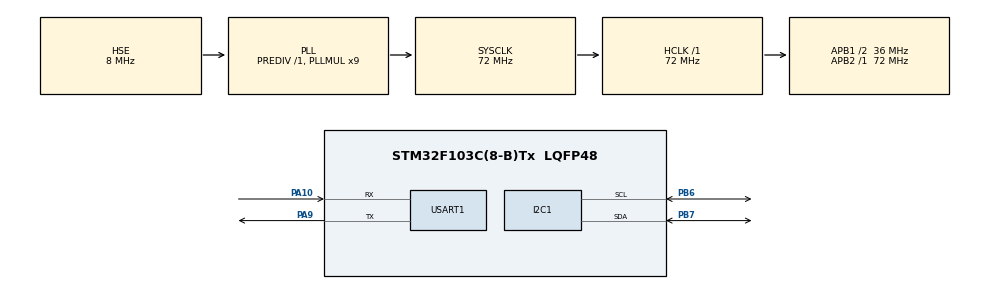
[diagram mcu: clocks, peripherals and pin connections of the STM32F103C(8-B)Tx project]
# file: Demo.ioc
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Dma.Request0=USART1_TX
Dma.USART1_TX.0.Direction=DMA_MEMORY_TO_PERIPH
Dma.USART1_TX.0.Instance=DMA1_Channel4
Dma.USART1_TX.0.MemDataAlignment=DMA_MDATAALIGN_BYTE
Dma.USART1_TX.0.MemInc=DMA_MINC_ENABLE
Dma.USART1_TX.0.Mode=DMA_NORMAL
Dma.USART1_TX.0.PeriphDataAlignment=DMA_PDATAALIGN_BYTE
Dma.USART1_TX.0.PeriphInc=DMA_PINC_DISABLE
Dma.USART1_TX.0.Priority=DMA_PRIORITY_HIGH
I2C1.I2C_Mode=I2C_Fast
Mcu.Family=STM32F1
Mcu.Name=STM32F103C(8-B)Tx
Mcu.Package=LQFP48
NVIC.DMA1_Channel4_IRQn=true\:0\:0\:false\:false\:true\:false\:true\:true
NVIC.PriorityGroup=NVIC_PRIORITYGROUP_4
NVIC.USART1_IRQn=true\:0\:0\:false\:false\:true\:true\:true\:true
PA10.Mode=Asynchronous
PA10.Signal=USART1_RX
PA13.Mode=Serial_Wire
PA13.Signal=SYS_JTMS-SWDIO
PA14.Mode=Serial_Wire
PA14.Signal=SYS_JTCK-SWCLK
PA9.Mode=Asynchronous
PA9.Signal=USART1_TX
PB6.Mode=I2C
PB6.Signal=I2C1_SCL
PB7.Mode=I2C
PB7.Signal=I2C1_SDA
PC14-OSC32_IN.Mode=LSE-External-Oscillator
PC14-OSC32_IN.Signal=RCC_OSC32_IN
PC15-OSC32_OUT.Mode=LSE-External-Oscillator
PC15-OSC32_OUT.Signal=RCC_OSC32_OUT
PD0-OSC_IN.Mode=HSE-External-Oscillator
PD0-OSC_IN.Signal=RCC_OSC_IN
PD1-OSC_OUT.Mode=HSE-External-Oscillator
PD1-OSC_OUT.Signal=RCC_OSC_OUT
ProjectManager.HeapSize=0x200
ProjectManager.StackSize=0x400
ProjectManager.TargetToolchain=MDK-ARM V5.32
RCC.AHBFreq_Value=72000000
RCC.APB1CLKDivider=RCC_HCLK_DIV2
RCC.APB1Freq_Value=36000000
RCC.APB1TimFreq_Value=72000000
RCC.APB2Freq_Value=72000000
RCC.APB2TimFreq_Value=72000000
RCC.HCLKFreq_Value=72000000
RCC.PLLMUL=RCC_PLL_MUL9
RCC.PLLSourceVirtual=RCC_PLLSOURCE_HSE
RCC.SYSCLKFreq_VALUE=72000000
RCC.SYSCLKSource=RCC_SYSCLKSOURCE_PLLCLK
RCC.USBFreq_Value=72000000
USART1.VirtualMode=VM_ASYNC
board=custom

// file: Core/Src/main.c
/* USER CODE BEGIN Header */
/**
  ******************************************************************************
  * @file           : main.c
  * @brief          : Main program body
  ******************************************************************************
  * @attention
  *
  * Copyright (c) 2023 STMicroelectronics.
  * All rights reserved.
  *
  * This software is licensed under terms that can be found in the LICENSE file
  * in the root directory of this software component.
  * If no LICENSE file comes with this software, it is provided AS-IS.
  *
  ******************************************************************************
  */
/* USER CODE END Header */
#include "main.h"
#include "dma.h"
#include "i2c.h"
#include "usart.h"
#include "gpio.h"

/* USER CODE BEGIN Includes */

#include "mpu6050.h"
#include "inv_mpu.h"
#include "inv_mpu_dmp_motion_driver.h"
#include "pca9548.h"
#include <string.h>
/* USER CODE END Includes */

/* USER CODE BEGIN PV */
float pitch, roll, yaw;
uint8_t txBuf[50];
/* USER CODE END PV */

void SystemClock_Config(void);

/* USER CODE BEGIN 0 */
void sentData_Uart(uint8_t port);
/* USER CODE END 0 */

int main(void)
{
  /* USER CODE BEGIN 1 */

	uint8_t i;

  /* USER CODE END 1 */

  /* MCU Configuration--------------------------------------------------------*/

  /* Reset of all peripherals, Initializes the Flash interface and the Systick. */
  HAL_Init();

  /* Configure the system clock */
  SystemClock_Config();

  /* Initialize all configured peripherals */
  MX_GPIO_Init();
  MX_DMA_Init();
  MX_I2C1_Init();
  MX_USART1_UART_Init();
  /* USER CODE BEGIN 2 */
	for(i = 0; i < 2; i++)
	{
		selectPort(i);
		MPU_Init(); //��ʼ��MPU6050
		while(mpu_dmp_init()) //DMP��ʼ��
		{

			printf("MPU%d DMP failed.Err code��%d\r\n", i, mpu_dmp_init());
		}
	}

  /* USER CODE END 2 */

  /* Infinite loop */
  while (1)
  {

    /* USER CODE BEGIN 3 */
	  sentData_Uart(0);
	  sentData_Uart(1);
  }
  /* USER CODE END 3 */
}

void SystemClock_Config(void)
{
  RCC_OscInitTypeDef RCC_OscInitStruct = {0};
  RCC_ClkInitTypeDef RCC_ClkInitStruct = {0};

  /** Initializes the RCC Oscillators according to the specified parameters
  * in the RCC_OscInitTypeDef structure.
  */
  RCC_OscInitStruct.OscillatorType = RCC_OSCILLATORTYPE_HSE;
  RCC_OscInitStruct.HSEState = RCC_HSE_ON;
  RCC_OscInitStruct.HSEPredivValue = RCC_HSE_PREDIV_DIV1;
  RCC_OscInitStruct.HSIState = RCC_HSI_ON;
  RCC_OscInitStruct.PLL.PLLState = RCC_PLL_ON;
  RCC_OscInitStruct.PLL.PLLSource = RCC_PLLSOURCE_HSE;
  RCC_OscInitStruct.PLL.PLLMUL = RCC_PLL_MUL9;
  if (HAL_RCC_OscConfig(&RCC_OscInitStruct) != HAL_OK)
  {
    Error_Handler();
  }

  /** Initializes the CPU, AHB and APB buses clocks
  */
  RCC_ClkInitStruct.ClockType = RCC_CLOCKTYPE_HCLK|RCC_CLOCKTYPE_SYSCLK
                              |RCC_CLOCKTYPE_PCLK1|RCC_CLOCKTYPE_PCLK2;
  RCC_ClkInitStruct.SYSCLKSource = RCC_SYSCLKSOURCE_PLLCLK;
  RCC_ClkInitStruct.AHBCLKDivider = RCC_SYSCLK_DIV1;
  RCC_ClkInitStruct.APB1CLKDivider = RCC_HCLK_DIV2;
  RCC_ClkInitStruct.APB2CLKDivider = RCC_HCLK_DIV1;

  if (HAL_RCC_ClockConfig(&RCC_ClkInitStruct, FLASH_LATENCY_2) != HAL_OK)
  {
    Error_Handler();
  }
}

/* USER CODE BEGIN 4 */
void sentData_Uart(uint8_t port)
{
	selectPort(port);
	if(mpu_dmp_get_data(&pitch, &roll, &yaw)==0){
		while(huart1.gState == HAL_UART_STATE_BUSY_TX);
		memset(txBuf, 0x00, sizeof(txBuf));
		snprintf((char *)txBuf,sizeof(txBuf),"P%d:%.3f,%.3f,%.3f,\r\n",port,pitch,roll,yaw);
		HAL_UART_Transmit_DMA(&huart1,txBuf,sizeof(txBuf));
	}
}
/* USER CODE END 4 */

void Error_Handler(void)
{
  __disable_irq();
  while (1)
  {
  }
}
